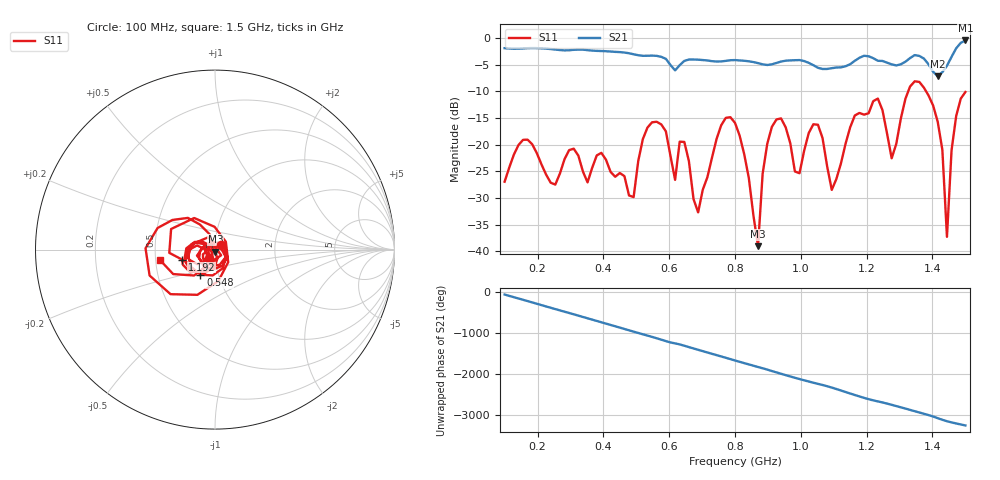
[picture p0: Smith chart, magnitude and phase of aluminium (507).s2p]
! NanoVNA-App
! Date: 2025-09-25 14:59:13
! Start: 100MHz Stop: 1,5GHz Points: 101
! S-Parameter data: F S11 S21 S12 S22
# Hz S RI R 50
!  Frequency  S11_Real  S11_Imag  S21_Real  S21_Imag  S12_Real  S12_Imag  S22_Real  S22_Imag
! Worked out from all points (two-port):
!   101 points, 100 MHz to 1.5 GHz, reference 50 ohm
!   highest |S21| = -0.47 dB at 1.5 GHz (marker M1); lowest = -7.2 dB at 1.416 GHz (marker M2)
!   |S21| within 3 dB of the highest: start of sweep to 570.6 MHz; 1.459 GHz to end of sweep (the widest 2 of 4)
!   lowest |S11| = -39.0 dB at 870 MHz (marker M3), VSWR 1.02, Z = 50.2 - j1.1 ohm
!   |S11| at or under -10 dB: start of sweep to 1.326 GHz; 1.38 GHz to end of sweep
!   S12 and S22 are empty: the file has one direction only
!   S11 on the Smith chart (normalised r, x): 100 MHz: 1.07, +0.06; 548 MHz: 0.82, -0.24; 1.192 GHz: 0.69, -0.08; 1.5 GHz: 0.53, -0.07
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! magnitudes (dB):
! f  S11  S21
! 100 MHz  -27.0  -1.9
! 156 MHz  -19.1  -2.0
! 338 MHz  -25.1  -2.2
! 492 MHz  -29.8  -3.1
! 548 MHz  -15.8  -3.3
! 576 MHz  -16.2  -3.5
! 646 MHz  -19.5  -4.3
! 688 MHz  -32.7  -4.1
! 800 MHz  -15.9  -4.1
! 870 MHz  -39.0  -4.7
! 912 MHz  -16.7  -4.9
! 996 MHz  -25.4  -4.1
! 1.038 GHz  -16.2  -5.1
! 1.094 GHz  -28.5  -5.7
! 1.192 GHz  -14.4  -3.3
! 1.234 GHz  -11.4  -4.3
! 1.276 GHz  -22.6  -5.0
! 1.346 GHz  -8.1  -3.2
! 1.416 GHz  -15.7  -7.2
! 1.444 GHz  -37.3  -5.2
! 1.458 GHz  -21.0  -3.5
! 1.5 GHz  -10.1  -0.5
